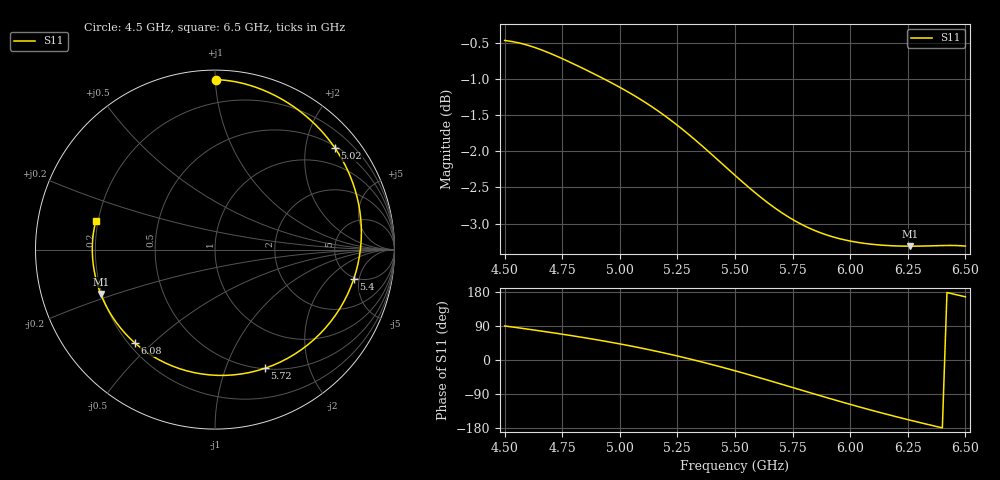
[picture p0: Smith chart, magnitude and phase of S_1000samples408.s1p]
! TOUCHSTONE file generated by CST MICROWAVE STUDIO
! Date and time: Fri Oct 28 01:50:52 2022
! Project name: L.cst
! Parameters = {Di=1.27; Epsilon_r=1.56; InnerDiameter=1.27; Length=2; Lf=10; Lg=60; OuterConductorThickness=0.2921; OuterDiameter=3.6; Wf=3; Wp=41.2; de=1.5; df=6.8; g=0.8; gx=4.65285; gy=2.49742; h=2.34; hf=1.524; px=12.3232; py=11.6172; w=9.7; wx=7.6703; wy=9.11975}
! Header version: 2018
! Port assignment regex: !\s*Touchstone port\s*([0-9]+)\s*=\s*(CST MWS port|CST DS port)\s*([0-9]+|Zmin|Zmax)\s*\(\"(.*)\"\)(\s*mode\s*([0-9]+))?.*
! Touchstone port assignment:
! Touchstone port 1 = CST MWS port 1 ("")
# GHz S DB R 50
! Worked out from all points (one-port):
!   101 points, 4.5 GHz to 6.5 GHz, reference 50 ohm
!   lowest |S11| = -3.3 dB at 6.26 GHz (marker M1), VSWR 5.31, Z = 9.74 - j9.03 ohm
!   |S11| at or under -10 dB: nowhere
!   S11 on the Smith chart (normalised r, x): 4.5 GHz: 0.05, +1.00; 5.02 GHz: 0.54, +2.64; 5.4 GHz: 4.76, -4.18; 5.72 GHz: 0.51, -1.38; 6.08 GHz: 0.22, -0.44; 6.5 GHz: 0.19, +0.11
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4.5  -0.47 89.8
4.62  -0.56 79.8
4.76  -0.74 67.2
4.88  -0.92 55.4
5  -1.12 42.5
5.02  -1.15 40.2
5.14  -1.39 25.5
5.2  -1.52 17.5
5.26  -1.67 9.1
5.34  -1.88 -2.7
5.4  -2.05 -12.1
5.5  -2.33 -28.4
5.56  -2.50 -38.7
5.62  -2.66 -49.2
5.68  -2.80 -59.9
5.72  -2.88 -67.1
5.76  -2.96 -74.4
5.82  -3.06 -85.2
5.88  -3.14 -96.0
5.94  -3.20 -106.6
6  -3.24 -117.1
6.08  -3.28 -130.5
6.18  -3.31 -146.6
6.26  -3.31 -158.8
6.32  -3.31 -167.6
6.38  -3.30 -176.3
6.44  -3.30 175.2
6.5  -3.31 166.7
